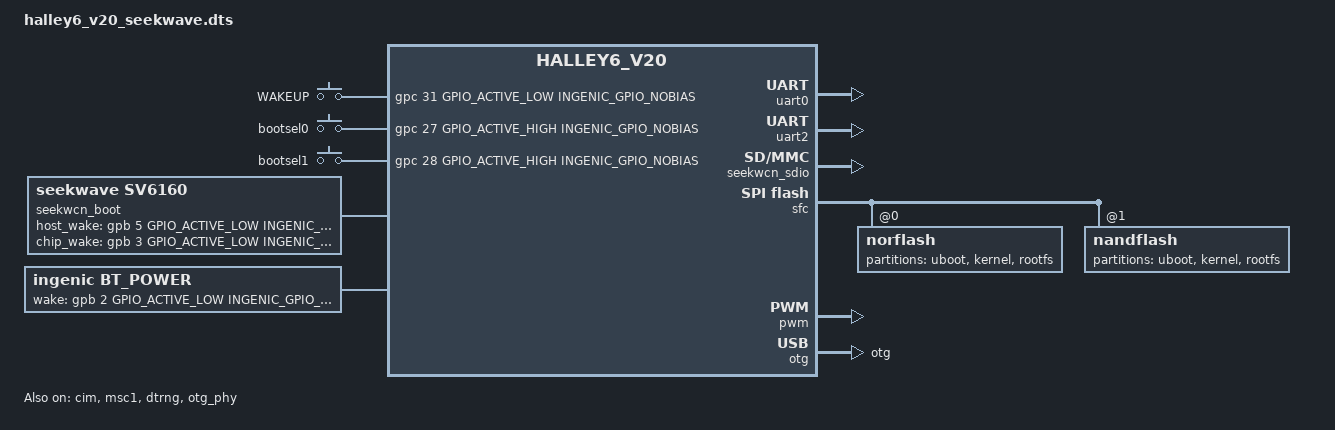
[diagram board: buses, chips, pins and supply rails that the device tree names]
/dts-v1/;

#include <dt-bindings/input/input.h>
#include "x1600.dtsi"
#include <dt-bindings/interrupt-controller/irq.h>
#include <generated/autoconf.h>

#ifdef CONFIG_RD_X1600_HALLEY6_MIPI_CAMERA
#include "halley6_cameras/RD_X1600_HALLEY6_MIPI_CAMERA.dtsi"
#endif

#ifdef CONFIG_RD_X1600_HALLEY6_DVP_CAMERA
#include "halley6_cameras/RD_X1600_HALLEY6_DVP_CAMERA.dtsi"
#endif

#ifdef CONFIG_STAGE_FW040
#include "halley6_lcd/RD_X1600_HALLEY6_RGB_SPI_LCD_1V0.dtsi"
#endif

#ifdef CONFIG_STAGE_FW035
#include "halley6_lcd/RD_X1600_HALLEY6_RGB_SLCD_1V0.dtsi"
#endif

#ifdef CONFIG_STAGE_KD050WVFPA029
#include "halley6_lcd/RD_X1600_HALLEY6_RGB_LCD_1V0.dtsi"
#endif



/ {
	compatible = "ingenic,halley6_v20", "ingenic,halley6_v20";

	/*chosen {
		bootargs = "console=ttyS1,115200 mem=128M@0x0ip=off init=/linuxrc ubi.mtd=3 root=ubi0:rootfs ubi.mtd=4 rootfstype=ubifs rw";
	};*/


	/* reserved-memory { */
	/* 	#address-cells = <1>; */
	/* 	#size-cells = <1>; */
	/* 	ranges =<>; */

	/* 	reserved_memory: reserved_mem@0x2000000{ */
	/* 	      compatible = "shared-dma-pool"; */
	/* 	      reg = <0x02000000 0x2000000>; */
	/* 	}; */
	/* }; */

};

&uart0 {
	status = "okay";
	pinctrl-names = "default";
	pinctrl-0 = <&uart0_pb_txrx>;
};

&uart1 {
	status = "disable";
	pinctrl-names = "default";
	pinctrl-0 = <&uart1_pb>;
};

&uart2 {
	status = "okay";
	pinctrl-names = "default";
	pinctrl-0 = <&uart2_pb>;
};

&uart3 {
	status = "disable";
};

&cpufreq {
	status = "okay";
	operating-points = <
		/*KHZ uV */
		1200000	900000
		750000	900000
		600000	900000
		500000	900000
		400000	900000
		375000	900000
		300000	900000
		200000	900000
			>;

};

&pdma {
	status = "okay";
};

&tcu {
	status = "disable ";
	pinctrl-names = "default";
	pinctrl-0 = <&pwm_tcu_trig_pa>;
};

&can0 {
	status = "disable";
	pinctrl-names = "default";
	pinctrl-0 = <&can0_pd>;
	ingenic,clk-freq = <12000000>;
};

&can1 {
	status = "disable";
	pinctrl-names = "default";
	pinctrl-0 = <&can1_pd>;
	ingenic,clk-freq = <12000000>;
};

&cim {
	status = "okay";
	/* memory-region=<&reserved_memory>; */
};
&msc1 {
	status = "okay";
	pinctrl-names ="default";
	pinctrl-0 = <&msc1_4bit>;

	cap-sd-highspeed;
	max-frequency = <50000000>;
	bus-width = <4>;
	voltage-ranges = <1800 3300>;
	non-removable;

	ingenic,sdio_clk = <1>;
	keep-power-in-suspend;

	/* special property */
	ingenic,wp-gpios = <0>;
	ingenic,cd-gpios = <0>;
	ingenic,rst-gpios = <0>;
	ingenic,removal-manual; /*removal-dontcare, removal-nonremovable, removal-removable, removal-manual*/
	seekwcn_sdio:seekwcn_sdio {
		    status = "okay";
		    compatible = "seekwave,ea6xxxx_wlan";
		    dma_type = <1>;/*1:ADMA,2:SDMA*/
		    ingenic,sdio-bootsel = <&gpb 7 GPIO_ACTIVE_HIGH INGENIC_GPIO_NOBIAS>;
		    ingenic,sdio-reset = <&gpb 4 GPIO_ACTIVE_LOW INGENIC_GPIO_NOBIAS>;
	};

};

&sfc {
	status = "okay";
	pinctrl-names = "default";
	pinctrl-0 = <&sfc_pc>;
	ingenic,sfc-init-frequency = <200000000>;
	ingenic,sfc-max-frequency = <400000000>;
	ingenic,use_ofpart_info  = /bits/ 8 <0>;
	ingenic,spiflash_param_offset = <0>;

	norflash@0 {
		partitions {
			compatible = "fixed-partitions";
			#address-cells = <1>;
			#size-cells = <1>;

			/* spi nor flash partition */
			uboot@0 {
				label = "uboot";
				reg = <0x0000000 0x40000>;
				/*read-only;*/
			};

			kernel@40000 {
				label = "kernel";
				reg = <0x40000 0x300000>;
			};

			rootfs@360000 {
				label = "rootfs";
				reg = <0x360000 0xca0000>;
			};
		};
	};

	nandflash@1 {
		partitions {
			compatible = "fixed-partitions";
			#address-cells = <1>;
			#size-cells = <1>;

			/* spi nand flash partition */
			partition@0 {
				label = "uboot";
				reg = <0x0000000 0x100000>;
				/*read-only;*/
			};

			partition@100000 {
				label = "kernel";
				reg = <0x100000 0x800000>;
			};

			partition@900000 {
				label = "rootfs";
				reg = <0x900000 0xf700000>;
			};
		};
	};

};


&dtrng {
	status = "okay";
};

&pwm {
	status = "okay";
	pinctrl-names = "default";
	pinctrl-0 = <&pwm0_pc>;
};

&otg {
	g-use-dma;
	dr_mode = "otg"; // host,peripheral,otg
	device-using-dma = <1>;
	status = "okay";
};

&otg_phy {
	status = "okay";
	ingenic,vbus-dete-gpio = <&gpc 24 GPIO_ACTIVE_LOW INGENIC_GPIO_NOBIAS>;
};

&aic {
	status = "disabled";
	pinctrl-names = "default";
	pinctrl-0 = <&aic_pb>;
};

&efuse {
	status = "disable";
};


/ {

	extclk: extclk {
		clock-frequency = <24000000>;
	};

	gpio_keys: gpio_keys {
		   compatible = "gpio-keys";

		   wakeup {
			   label = "WAKEUP";
			   linux,code = <KEY_WAKEUP>;
			   gpios = <&gpc 31 GPIO_ACTIVE_LOW INGENIC_GPIO_NOBIAS>;
			   gpio-key,wakeup;
		   };

		   bootsel0 {
			   label = "bootsel0";
			   linux,code = <KEY_HOME>;
			   gpios = <&gpc 27 GPIO_ACTIVE_HIGH INGENIC_GPIO_NOBIAS>;
		   };

		   bootsel1 {
			   label = "bootsel1";
			   linux,code = <KEY_BACK>;
			   gpios = <&gpc 28 GPIO_ACTIVE_HIGH INGENIC_GPIO_NOBIAS>;
		   };
	   };
	seekwcn_boot:seekwcn_boot {
		    status = "okay";
		    compatible = "seekwave,sv6160";
		    dma_type = <1>;/*1:ADMA,2:SDMA*/
	/*seekwave dts:*/
		    gpio_host_wake = <&gpb 5  GPIO_ACTIVE_LOW INGENIC_GPIO_NOBIAS>;/*Wl wake Host input*/
		    gpio_chip_wake = <&gpb 3 GPIO_ACTIVE_LOW INGENIC_GPIO_NOBIAS>;/*Host wake wl,output*/
		   /* gpio_chip_en = <&gpb 4 GPIO_ACTIVE_HIGH INGENIC_GPIO_NOBIAS>;*/ /*GPIO0_B1 CP POWERON*/
	};

	/*
	 * gpb 2 bt wakeup host
	 */

	bt_power {
		compatible = "ingenic,bt_power";
		ingenic,wake-gpio = <&gpb 2 GPIO_ACTIVE_LOW INGENIC_GPIO_NOBIAS>;/**/
	};

	dump_pcm_codec:dump_pcm_codec{
		compatible = "ingenic,pcm-dump-codec";
		status = "disabled";
	};

	sound_halley6_ecdc {
		status = "disabled";
		compatible = "ingenic,x1600-sound";
		ingenic,model = "halley6";
		ingenic,dai-link = "i2s-ecodec", "i2s-tloop";
		ingenic,stream = "i2s-ecodec", "i2s-tloop";
		ingenic,cpu-dai = <&i2s>, <&i2s_tloop>;
		ingenic,platform = <&aic>, <&i2s_tloop>;
		ingenic,codec = <&dump_pcm_codec>, <&dump_pcm_codec>;
		ingenic,codec-dai = "pcm-dump", "pcm-dump";
		ingenic,en3v3-gpios = <&gpb 31 GPIO_ACTIVE_HIGH INGENIC_GPIO_NOBIAS>;
	};


	spi_gpio {
		status = "disable";
	};

#ifdef CONFIG_LINUX_PMEM
	linux_pmem {
		status = "okay";
		compatible = "linux_pmem";
		linux_pmem,name = "pmem";
		linux_pmem,no_allocator = <0>;
		linux_pmem,cached       = <1>;
		linux_pmem,start        = <0>;
		linux_pmem,size         = CONFIG_PMEM_RESERVE_SIZE;
    };
#endif
};

&gpa {
	ingenic,gpio-sleep-pull 	= <>;
	ingenic,gpio-sleep-npul 	= <>;
	ingenic,gpio-sleep-hiz		= <26>;
	ingenic,gpio-sleep-low		= <>;
	ingenic,gpio-sleep-high		= <>;
};

&gpb {
	ingenic,gpio-sleep-pull 	= <>;
	ingenic,gpio-sleep-hiz		= <>;
	ingenic,gpio-sleep-low		= <>;
	ingenic,gpio-sleep-high		= <>;
};

&gpc {
	ingenic,gpio-sleep-pull 	= <>;
	ingenic,gpio-sleep-hiz		= <>;
	ingenic,gpio-sleep-low		= <>;
	ingenic,gpio-sleep-high		= <>;
};

&gpd {
	ingenic,gpio-sleep-pull 	= <>;
	ingenic,gpio-sleep-hiz		= <>;
	ingenic,gpio-sleep-low		= <>;
	ingenic,gpio-sleep-high		= <>;
};
